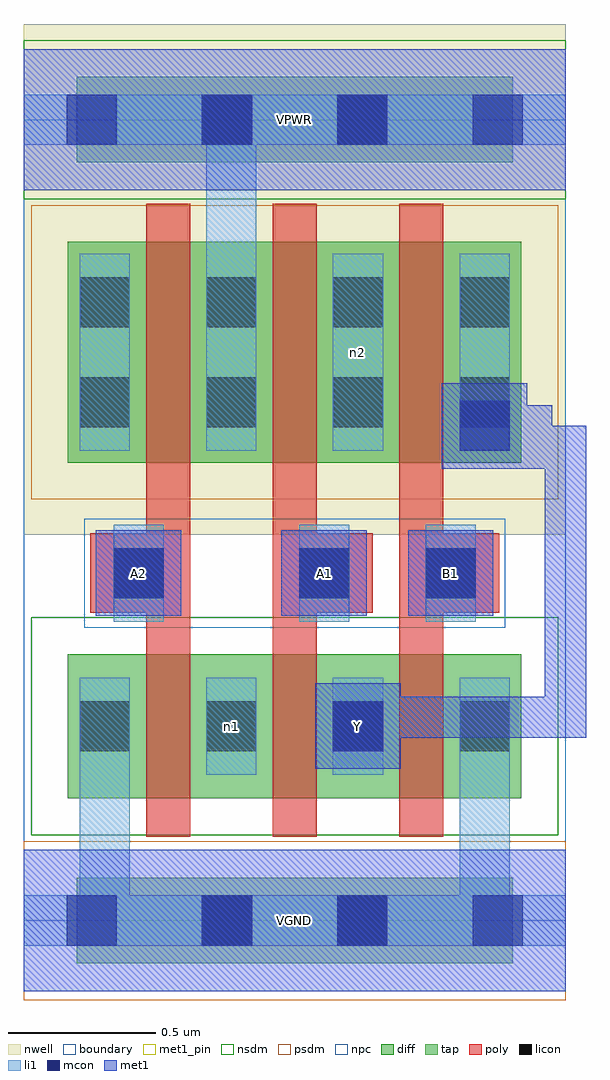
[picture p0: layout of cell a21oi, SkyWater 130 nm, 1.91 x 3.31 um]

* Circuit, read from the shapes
.subckt a21oi A1 A2 B1 VGND VPWR Y n1 n2
XM1 n1 A2 VGND VGND sky130_fd_pr__nfet_01v8 w=0.49 l=0.15
XM2 Y A1 n1 VGND sky130_fd_pr__nfet_01v8 w=0.49 l=0.15
XM3 VGND B1 Y VGND sky130_fd_pr__nfet_01v8 w=0.49 l=0.15
XM4 VPWR A2 n3 VPWR sky130_fd_pr__pfet_01v8 w=0.75 l=0.15
XM5 n2 A1 VPWR VPWR sky130_fd_pr__pfet_01v8 w=0.75 l=0.15
XM6 Y B1 n2 VPWR sky130_fd_pr__pfet_01v8 w=0.75 l=0.15
.ends

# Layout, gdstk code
import gdstk
lib = gdstk.Library(unit=1e-6, precision=1e-09)
def R(c, l, rs):  # rectangles x0, y0, x1, y1
    for r in rs: c.add(gdstk.rectangle(r[:2], r[2:], *l))
def A(c, l, x, y, w, h, nx, ny, dx, dy):  # array of equal rectangles
    R(c, l, [(x+i*dx, y+j*dy, x+i*dx+w, y+j*dy+h) for i in range(nx) for j in range(ny)])
nwell = (64, 20)
diff = (65, 20)
tap = (65, 44)
poly = (66, 20)
licon = (66, 44)
li1 = (67, 20)
mcon = (67, 44)
met1_pin = (68, 16)
met1 = (68, 20)
nsdm = (93, 44)
psdm = (94, 20)
npc = (95, 20)
boundary = (235, 4)

a21oi = lib.new_cell('a21oi')
R(a21oi, nwell, [(0,1.31,1.84,3.045)])
R(a21oi, diff, [(0.15,0.415,1.69,0.905), (0.15,1.555,1.69,2.305)])
R(a21oi, tap, [(0.18,-0.145,1.66,0.145), (0.18,2.575,1.66,2.865)])
A(a21oi, poly, 0.415, 0.285, 0.15, 2.15, 3, 1, 0.43, 0)
R(a21oi, poly, [(0.225,1.045,0.555,1.315), (0.855,1.045,1.185,1.315), (1.285,1.045,1.615,1.315)])
A(a21oi, licon, 0.19, 0.575, 0.17, 0.17, 4, 2, 0.43, 1.1)
A(a21oi, licon, 0.19, 2.015, 0.17, 0.17, 4, 1, 0.43, 0)
R(a21oi, licon, [(0.605,-0.085,0.775,0.085), (1.065,-0.085,1.235,0.085), (0.305,1.095,0.475,1.265), (0.935,1.095,1.105,1.265), (1.365,1.095,1.535,1.265), (0.605,2.635,0.775,2.805), (1.065,2.635,1.235,2.805)])
A(a21oi, li1, 0.19, 0.495, 0.17, 0.33, 4, 1, 0.43, 0)
A(a21oi, li1, 0.19, 1.595, 0.17, 0.67, 4, 1, 0.43, 0)
R(a21oi, li1, [(0,-0.085,1.84,0.085), (0.19,-0.085,0.36,0.825), (1.48,-0.085,1.65,0.825), (0.305,1.015,0.475,1.345), (0.935,1.015,1.105,1.345), (1.365,1.015,1.535,1.345), (0.62,1.595,0.79,2.805), (0,2.635,1.84,2.805)])
A(a21oi, mcon, 0.145, -0.085, 0.17, 0.17, 4, 2, 0.46, 2.72)
R(a21oi, mcon, [(1.05,0.575,1.22,0.745), (0.305,1.095,0.475,1.265), (0.935,1.095,1.105,1.265), (1.365,1.095,1.535,1.265), (1.48,1.595,1.65,1.765)])
R(a21oi, met1_pin, [(0,-0.24,1.84,0.24), (0.99,0.515,1.28,0.805), (0.245,1.035,0.535,1.325), (0.875,1.035,1.165,1.325), (1.305,1.035,1.595,1.325), (0,2.48,1.84,2.96)])
R(a21oi, met1, [(0,-0.24,1.84,0.24), (0.99,0.515,1.28,0.805), (1.08,0.62,1.22,0.76), (1.08,0.62,1.91,0.76), (1.77,0.62,1.91,1.68), (0.245,1.035,0.535,1.325), (0.875,1.035,1.165,1.325), (1.305,1.035,1.595,1.325), (1.42,1.535,1.71,1.825), (1.71,1.535,1.77,1.68), (1.655,1.54,1.795,1.75), (1.655,1.54,1.91,1.68), (1.495,1.61,1.795,1.75), (0,2.48,1.84,2.96)])
R(a21oi, nsdm, [(0.025,0.29,1.815,1.03), (0,2.45,1.84,2.99)])
R(a21oi, psdm, [(0,-0.27,1.84,0.27), (0.025,1.43,1.815,2.43)])
R(a21oi, npc, [(0.205,0.995,1.635,1.365)])
R(a21oi, boundary, [(0,0,1.84,2.72)])
a21oi.add(gdstk.Label('n1', (0.705,0.66), layer=67, texttype=5))
a21oi.add(gdstk.Label('n2', (1.135,1.93), layer=67, texttype=5))
a21oi.add(gdstk.Label('A2', (0.39,1.18), layer=68, texttype=5))
a21oi.add(gdstk.Label('A1', (1.02,1.18), layer=68, texttype=5))
a21oi.add(gdstk.Label('B1', (1.45,1.18), layer=68, texttype=5))
a21oi.add(gdstk.Label('Y', (1.135,0.66), layer=68, texttype=5))
a21oi.add(gdstk.Label('VPWR', (0.92,2.72), layer=68, texttype=5))
a21oi.add(gdstk.Label('VGND', (0.92,0), layer=68, texttype=5))
a21oi.add(gdstk.Label('A2', (0.39,1.18), layer=68, texttype=16))
a21oi.add(gdstk.Label('A1', (1.02,1.18), layer=68, texttype=16))
a21oi.add(gdstk.Label('B1', (1.45,1.18), layer=68, texttype=16))
a21oi.add(gdstk.Label('Y', (1.135,0.66), layer=68, texttype=16))
a21oi.add(gdstk.Label('VPWR', (0.92,2.72), layer=68, texttype=16))
a21oi.add(gdstk.Label('VGND', (0.92,0), layer=68, texttype=16))

lib.write_gds('a21oi.gds')
